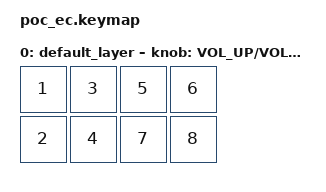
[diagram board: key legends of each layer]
/*
 * Copyright (c) 2020 The ZMK Contributors
 *
 * SPDX-License-Identifier: MIT
 */

#include <behaviors.dtsi>
#include <dt-bindings/zmk/keys.h>
#include <dt-bindings/zmk/outputs.h>
#include <dt-bindings/zmk/bt.h>

&mt {
    tapping-term-ms = <400>;
};


/ {

    keymap {
        compatible = "zmk,keymap";

        default_layer {
            // -------------      -------------
            // |  1  |  3  |      |  5  |  6  |
            // |  2  |  4  |      |  7  |  8  |
            // -------------      -------------
            bindings = <
                &kp N1 &kp N3      &kp N5 &kp N6
                &kp N2 &kp N4      &kp N7 &kp N8
            >;

            sensor-bindings = <&inc_dec_kp C_VOL_UP C_VOL_DN &inc_dec_kp PG_UP PG_DN>;
        };
    };
};
